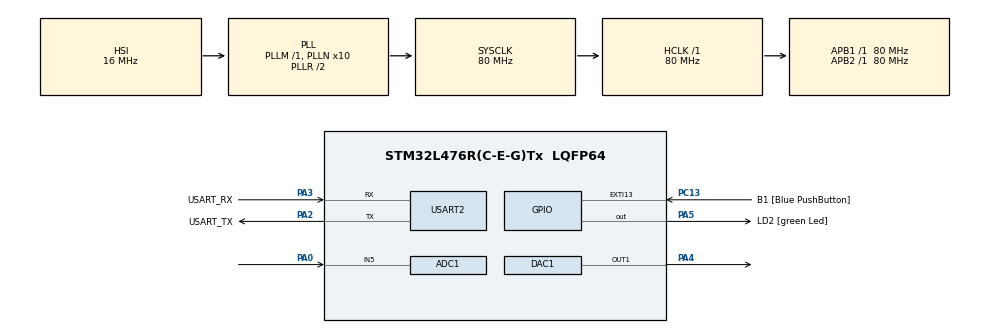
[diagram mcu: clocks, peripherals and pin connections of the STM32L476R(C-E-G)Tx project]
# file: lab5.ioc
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ADC1.Channel-0\#ChannelRegularConversion=ADC_CHANNEL_5
ADC1.ContinuousConvMode=DISABLE
ADC1.DMAContinuousRequests=ENABLE
ADC1.ExternalTrigConv=ADC_EXTERNALTRIG_T6_TRGO
ADC1.NbrOfConversionFlag=1
ADC1.OffsetNumber-0\#ChannelRegularConversion=ADC_OFFSET_NONE
ADC1.Rank-0\#ChannelRegularConversion=1
ADC1.SamplingTime-0\#ChannelRegularConversion=ADC_SAMPLETIME_2CYCLES_5
ADC1.master=1
DAC1.DAC_Trigger-DAC_OUT1=DAC_TRIGGER_T6_TRGO
Dma.ADC1.0.Direction=DMA_PERIPH_TO_MEMORY
Dma.ADC1.0.Instance=DMA1_Channel1
Dma.ADC1.0.MemDataAlignment=DMA_MDATAALIGN_WORD
Dma.ADC1.0.MemInc=DMA_MINC_ENABLE
Dma.ADC1.0.Mode=DMA_CIRCULAR
Dma.ADC1.0.PeriphDataAlignment=DMA_PDATAALIGN_HALFWORD
Dma.ADC1.0.PeriphInc=DMA_PINC_DISABLE
Dma.ADC1.0.Priority=DMA_PRIORITY_HIGH
Dma.DAC_CH1.1.Direction=DMA_MEMORY_TO_PERIPH
Dma.DAC_CH1.1.Instance=DMA1_Channel3
Dma.DAC_CH1.1.MemDataAlignment=DMA_MDATAALIGN_WORD
Dma.DAC_CH1.1.MemInc=DMA_MINC_ENABLE
Dma.DAC_CH1.1.Mode=DMA_CIRCULAR
Dma.DAC_CH1.1.PeriphDataAlignment=DMA_PDATAALIGN_HALFWORD
Dma.DAC_CH1.1.PeriphInc=DMA_PINC_DISABLE
Dma.DAC_CH1.1.Priority=DMA_PRIORITY_HIGH
Dma.Request0=ADC1
Dma.Request1=DAC_CH1
Mcu.Family=STM32L4
Mcu.Name=STM32L476R(C-E-G)Tx
Mcu.Package=LQFP64
NVIC.DMA1_Channel1_IRQn=true\:0\:0\:false\:false\:true\:false\:true\:true
NVIC.DMA1_Channel3_IRQn=true\:0\:0\:false\:false\:true\:false\:true\:true
NVIC.PriorityGroup=NVIC_PRIORITYGROUP_4
PA0.Signal=ADCx_IN5
PA13\ (JTMS-SWDIO).GPIO_Label=TMS
PA13\ (JTMS-SWDIO).Mode=Serial_Wire
PA13\ (JTMS-SWDIO).Signal=SYS_JTMS-SWDIO
PA14\ (JTCK-SWCLK).GPIO_Label=TCK
PA14\ (JTCK-SWCLK).Mode=Serial_Wire
PA14\ (JTCK-SWCLK).Signal=SYS_JTCK-SWCLK
PA2.GPIO_Label=USART_TX
PA2.GPIO_Mode=GPIO_MODE_AF_PP
PA2.GPIO_PuPd=GPIO_NOPULL
PA2.GPIO_Speed=GPIO_SPEED_FREQ_VERY_HIGH
PA2.Mode=Asynchronous
PA2.Signal=USART2_TX
PA3.GPIO_Label=USART_RX
PA3.GPIO_Mode=GPIO_MODE_AF_PP
PA3.GPIO_PuPd=GPIO_NOPULL
PA3.GPIO_Speed=GPIO_SPEED_FREQ_VERY_HIGH
PA3.Mode=Asynchronous
PA3.Signal=USART2_RX
PA4.Signal=COMP_DAC11_group
PA5.GPIO_Label=LD2 [green Led]
PA5.GPIO_ModeDefaultOutputPP=GPIO_MODE_OUTPUT_PP
PA5.GPIO_PuPd=GPIO_NOPULL
PA5.GPIO_Speed=GPIO_SPEED_FREQ_LOW
PA5.Signal=GPIO_Output
PB3\ (JTDO-TRACESWO).GPIO_Label=SWO
PB3\ (JTDO-TRACESWO).Signal=SYS_JTDO-SWO
PC13.GPIO_Label=B1 [Blue PushButton]
PC13.GPIO_ModeDefaultEXTI=GPIO_MODE_IT_FALLING
PC13.GPIO_PuPd=GPIO_NOPULL
PC13.Signal=GPXTI13
PC14-OSC32_IN\ (PC14).Mode=LSE-External-Oscillator
PC14-OSC32_IN\ (PC14).Signal=RCC_OSC32_IN
PC15-OSC32_OUT\ (PC15).Mode=LSE-External-Oscillator
PC15-OSC32_OUT\ (PC15).Signal=RCC_OSC32_OUT
PH0-OSC_IN\ (PH0).Signal=RCC_OSC_IN
PH1-OSC_OUT\ (PH1).Signal=RCC_OSC_OUT
ProjectManager.HeapSize=0x200
ProjectManager.StackSize=0x400
ProjectManager.TargetToolchain=STM32CubeIDE
RCC.ADCFreq_Value=64000000
RCC.AHBFreq_Value=80000000
RCC.APB1Freq_Value=80000000
RCC.APB1TimFreq_Value=80000000
RCC.APB2Freq_Value=80000000
RCC.APB2TimFreq_Value=80000000
RCC.CortexFreq_Value=80000000
RCC.HCLKFreq_Value=80000000
RCC.HSE_VALUE=8000000
RCC.HSI_VALUE=16000000
RCC.MSI_VALUE=4000000
RCC.PLLN=10
RCC.PLLSourceVirtual=RCC_PLLSOURCE_HSI
RCC.PREFETCH_ENABLE=1
RCC.SYSCLKFreq_VALUE=80000000
RCC.SYSCLKSource=RCC_SYSCLKSOURCE_PLLCLK
RCC.USBFreq_Value=64000000
RCC.VCOOutputFreq_Value=160000000
SH.ADCx_IN5.0=ADC1_IN5,IN5-Single-Ended
SH.COMP_DAC11_group.0=DAC1_OUT1,DAC_OUT1
TIM6.Period=4
TIM6.Prescaler=79
TIM6.TIM_MasterOutputTrigger=TIM_TRGO_UPDATE
USART2.VirtualMode-Asynchronous=VM_ASYNC
VP_TIM6_VS_ClockSourceINT.Mode=Enable_Timer
board=NUCLEO-L476RG

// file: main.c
/* USER CODE BEGIN Header */

/**

  ******************************************************************************

  * @file           : main.c

  * @brief          : Main program body

  ******************************************************************************

  * @attention

  *

  * Copyright (c) 2024 STMicroelectronics.

  * All rights reserved.

  *

  * This software is licensed under terms that can be found in the LICENSE file

  * in the root directory of this software component.

  * If no LICENSE file comes with this software, it is provided AS-IS.

  *

  ******************************************************************************

  */

/* USER CODE END Header */
#include "main.h"

/* USER CODE BEGIN PD */
#define BUFFER_HALFSIZE 500
#define BUFFER_SIZE 1000

/* USER CODE END PD */

ADC_HandleTypeDef hadc1;
DMA_HandleTypeDef hdma_adc1;

DAC_HandleTypeDef hdac1;
DMA_HandleTypeDef hdma_dac_ch1;

TIM_HandleTypeDef htim6;

UART_HandleTypeDef huart2;

/* USER CODE BEGIN PV */
uint32_t adc_buffer[BUFFER_SIZE];
uint32_t dac_buffer[BUFFER_SIZE];
 /*uint32_t val;
float real_val;
uint8_t count = 0;
float reading [40];
uint32_t timer_counter;
#define buffer_size 80
uint32_t adc_buffer[buffer_size];
*/

/* USER CODE END PV */

void SystemClock_Config(void);
static void MX_GPIO_Init(void);
static void MX_DMA_Init(void);
static void MX_USART2_UART_Init(void);
static void MX_ADC1_Init(void);
static void MX_TIM6_Init(void);
static void MX_DAC1_Init(void);

int main(void)
{

  /* MCU Configuration--------------------------------------------------------*/

  /* Reset of all peripherals, Initializes the Flash interface and the Systick. */
  HAL_Init();

  /* Configure the system clock */
  SystemClock_Config();

  /* Initialize all configured peripherals */
  MX_GPIO_Init();
  MX_DMA_Init();
  MX_USART2_UART_Init();
  MX_ADC1_Init();
  MX_TIM6_Init();
  MX_DAC1_Init();
  /* USER CODE BEGIN 2 */
  HAL_TIM_Base_Start(&htim6);
  HAL_ADC_Start_DMA(&hadc1, adc_buffer, BUFFER_SIZE);
  HAL_DAC_Start_DMA(&hdac1, DAC_CHANNEL_1, dac_buffer, BUFFER_SIZE, DAC_ALIGN_12B_R);

  /* USER CODE END 2 */

  /* Infinite loop */
  while (1)
  {

    /* USER CODE BEGIN 3 */
      //if (count < 40)  // Check if the buffer is not full
      //{
    	  //htim6.Instance->CNT=0;
          //HAL_ADC_Start(&hadc1);  // Start ADC conversion
          //HAL_ADC_PollForConversion(&hadc1, HAL_MAX_DELAY);  // Wait for ADC conversion
          //val = HAL_ADC_GetValue(&hadc1);  // Get the raw ADC value
          //timer_counter = __HAL_TIM_GET_COUNTER(&htim6);

          // Convert the raw ADC value to a real voltage (3V reference, 12-bit ADC)
          //real_val = (val / 4095.0) * 3.0;

          //reading[count] = real_val;  // Store the reading in the array
          //count++;  // Increment the counter

          //HAL_Delay(50);  // Delay between readings
      //}
      //else
      //{
          // Add a breakpoint here to inspect the adc_readings array
         // __BKPT(0);  // Breakpoint instruction (use your IDE's debug tool to pause here)
      //}
  }

  /* USER CODE END 3 */
}

void SystemClock_Config(void)
{
  RCC_OscInitTypeDef RCC_OscInitStruct = {0};
  RCC_ClkInitTypeDef RCC_ClkInitStruct = {0};

  /** Configure the main internal regulator output voltage
  */
  if (HAL_PWREx_ControlVoltageScaling(PWR_REGULATOR_VOLTAGE_SCALE1) != HAL_OK)
  {
    Error_Handler();
  }

  /** Initializes the RCC Oscillators according to the specified parameters
  * in the RCC_OscInitTypeDef structure.
  */
  RCC_OscInitStruct.OscillatorType = RCC_OSCILLATORTYPE_HSI;
  RCC_OscInitStruct.HSIState = RCC_HSI_ON;
  RCC_OscInitStruct.HSICalibrationValue = RCC_HSICALIBRATION_DEFAULT;
  RCC_OscInitStruct.PLL.PLLState = RCC_PLL_ON;
  RCC_OscInitStruct.PLL.PLLSource = RCC_PLLSOURCE_HSI;
  RCC_OscInitStruct.PLL.PLLM = 1;
  RCC_OscInitStruct.PLL.PLLN = 10;
  RCC_OscInitStruct.PLL.PLLP = RCC_PLLP_DIV7;
  RCC_OscInitStruct.PLL.PLLQ = RCC_PLLQ_DIV2;
  RCC_OscInitStruct.PLL.PLLR = RCC_PLLR_DIV2;
  if (HAL_RCC_OscConfig(&RCC_OscInitStruct) != HAL_OK)
  {
    Error_Handler();
  }

  /** Initializes the CPU, AHB and APB buses clocks
  */
  RCC_ClkInitStruct.ClockType = RCC_CLOCKTYPE_HCLK|RCC_CLOCKTYPE_SYSCLK
                              |RCC_CLOCKTYPE_PCLK1|RCC_CLOCKTYPE_PCLK2;
  RCC_ClkInitStruct.SYSCLKSource = RCC_SYSCLKSOURCE_PLLCLK;
  RCC_ClkInitStruct.AHBCLKDivider = RCC_SYSCLK_DIV1;
  RCC_ClkInitStruct.APB1CLKDivider = RCC_HCLK_DIV1;
  RCC_ClkInitStruct.APB2CLKDivider = RCC_HCLK_DIV1;

  if (HAL_RCC_ClockConfig(&RCC_ClkInitStruct, FLASH_LATENCY_4) != HAL_OK)
  {
    Error_Handler();
  }
}

static void MX_ADC1_Init(void)
{

  ADC_MultiModeTypeDef multimode = {0};
  ADC_ChannelConfTypeDef sConfig = {0};

  /** Common config
  */
  hadc1.Instance = ADC1;
  hadc1.Init.ClockPrescaler = ADC_CLOCK_ASYNC_DIV1;
  hadc1.Init.Resolution = ADC_RESOLUTION_12B;
  hadc1.Init.DataAlign = ADC_DATAALIGN_RIGHT;
  hadc1.Init.ScanConvMode = ADC_SCAN_DISABLE;
  hadc1.Init.EOCSelection = ADC_EOC_SINGLE_CONV;
  hadc1.Init.LowPowerAutoWait = DISABLE;
  hadc1.Init.ContinuousConvMode = DISABLE;
  hadc1.Init.NbrOfConversion = 1;
  hadc1.Init.DiscontinuousConvMode = DISABLE;
  hadc1.Init.ExternalTrigConv = ADC_EXTERNALTRIG_T6_TRGO;
  hadc1.Init.ExternalTrigConvEdge = ADC_EXTERNALTRIGCONVEDGE_RISING;
  hadc1.Init.DMAContinuousRequests = ENABLE;
  hadc1.Init.Overrun = ADC_OVR_DATA_PRESERVED;
  hadc1.Init.OversamplingMode = DISABLE;
  if (HAL_ADC_Init(&hadc1) != HAL_OK)
  {
    Error_Handler();
  }

  /** Configure the ADC multi-mode
  */
  multimode.Mode = ADC_MODE_INDEPENDENT;
  if (HAL_ADCEx_MultiModeConfigChannel(&hadc1, &multimode) != HAL_OK)
  {
    Error_Handler();
  }

  /** Configure Regular Channel
  */
  sConfig.Channel = ADC_CHANNEL_5;
  sConfig.Rank = ADC_REGULAR_RANK_1;
  sConfig.SamplingTime = ADC_SAMPLETIME_2CYCLES_5;
  sConfig.SingleDiff = ADC_SINGLE_ENDED;
  sConfig.OffsetNumber = ADC_OFFSET_NONE;
  sConfig.Offset = 0;
  if (HAL_ADC_ConfigChannel(&hadc1, &sConfig) != HAL_OK)
  {
    Error_Handler();
  }

}

static void MX_DAC1_Init(void)
{

  DAC_ChannelConfTypeDef sConfig = {0};

  /** DAC Initialization
  */
  hdac1.Instance = DAC1;
  if (HAL_DAC_Init(&hdac1) != HAL_OK)
  {
    Error_Handler();
  }

  /** DAC channel OUT1 config
  */
  sConfig.DAC_SampleAndHold = DAC_SAMPLEANDHOLD_DISABLE;
  sConfig.DAC_Trigger = DAC_TRIGGER_T6_TRGO;
  sConfig.DAC_OutputBuffer = DAC_OUTPUTBUFFER_ENABLE;
  sConfig.DAC_ConnectOnChipPeripheral = DAC_CHIPCONNECT_DISABLE;
  sConfig.DAC_UserTrimming = DAC_TRIMMING_FACTORY;
  if (HAL_DAC_ConfigChannel(&hdac1, &sConfig, DAC_CHANNEL_1) != HAL_OK)
  {
    Error_Handler();
  }

}

static void MX_TIM6_Init(void)
{

  TIM_MasterConfigTypeDef sMasterConfig = {0};

  htim6.Instance = TIM6;
  htim6.Init.Prescaler = 79;
  htim6.Init.CounterMode = TIM_COUNTERMODE_UP;
  htim6.Init.Period = 4;
  htim6.Init.AutoReloadPreload = TIM_AUTORELOAD_PRELOAD_DISABLE;
  if (HAL_TIM_Base_Init(&htim6) != HAL_OK)
  {
    Error_Handler();
  }
  sMasterConfig.MasterOutputTrigger = TIM_TRGO_UPDATE;
  sMasterConfig.MasterSlaveMode = TIM_MASTERSLAVEMODE_DISABLE;
  if (HAL_TIMEx_MasterConfigSynchronization(&htim6, &sMasterConfig) != HAL_OK)
  {
    Error_Handler();
  }

}

static void MX_USART2_UART_Init(void)
{

  huart2.Instance = USART2;
  huart2.Init.BaudRate = 115200;
  huart2.Init.WordLength = UART_WORDLENGTH_8B;
  huart2.Init.StopBits = UART_STOPBITS_1;
  huart2.Init.Parity = UART_PARITY_NONE;
  huart2.Init.Mode = UART_MODE_TX_RX;
  huart2.Init.HwFlowCtl = UART_HWCONTROL_NONE;
  huart2.Init.OverSampling = UART_OVERSAMPLING_16;
  huart2.Init.OneBitSampling = UART_ONE_BIT_SAMPLE_DISABLE;
  huart2.AdvancedInit.AdvFeatureInit = UART_ADVFEATURE_NO_INIT;
  if (HAL_UART_Init(&huart2) != HAL_OK)
  {
    Error_Handler();
  }

}

static void MX_DMA_Init(void)
{

  /* DMA controller clock enable */
  __HAL_RCC_DMA1_CLK_ENABLE();

  /* DMA interrupt init */
  /* DMA1_Channel1_IRQn interrupt configuration */
  HAL_NVIC_SetPriority(DMA1_Channel1_IRQn, 0, 0);
  HAL_NVIC_EnableIRQ(DMA1_Channel1_IRQn);
  /* DMA1_Channel3_IRQn interrupt configuration */
  HAL_NVIC_SetPriority(DMA1_Channel3_IRQn, 0, 0);
  HAL_NVIC_EnableIRQ(DMA1_Channel3_IRQn);

}

static void MX_GPIO_Init(void)
{
  GPIO_InitTypeDef GPIO_InitStruct = {0};

  /* GPIO Ports Clock Enable */
  __HAL_RCC_GPIOC_CLK_ENABLE();
  __HAL_RCC_GPIOH_CLK_ENABLE();
  __HAL_RCC_GPIOA_CLK_ENABLE();
  __HAL_RCC_GPIOB_CLK_ENABLE();

  /*Configure GPIO pin Output Level */
  HAL_GPIO_WritePin(LD2_GPIO_Port, LD2_Pin, GPIO_PIN_RESET);

  /*Configure GPIO pin : B1_Pin */
  GPIO_InitStruct.Pin = B1_Pin;
  GPIO_InitStruct.Mode = GPIO_MODE_IT_FALLING;
  GPIO_InitStruct.Pull = GPIO_NOPULL;
  HAL_GPIO_Init(B1_GPIO_Port, &GPIO_InitStruct);

  /*Configure GPIO pin : LD2_Pin */
  GPIO_InitStruct.Pin = LD2_Pin;
  GPIO_InitStruct.Mode = GPIO_MODE_OUTPUT_PP;
  GPIO_InitStruct.Pull = GPIO_NOPULL;
  GPIO_InitStruct.Speed = GPIO_SPEED_FREQ_LOW;
  HAL_GPIO_Init(LD2_GPIO_Port, &GPIO_InitStruct);

}

/* USER CODE BEGIN 4 */
void HAL_ADC_ConvHalfCpltCallback(ADC_HandleTypeDef *hadc)
{
for (int n=0; n<BUFFER_HALFSIZE; n++)
{
	if (adc_buffer[n] < 2048){
		dac_buffer[n]=4095-adc_buffer[n];
	}
	else{
	dac_buffer[n] = (adc_buffer[n]);
}
}
}
void HAL_ADC_ConvCpltCallback(ADC_HandleTypeDef *hadc)
{
for (int n=BUFFER_HALFSIZE; n<BUFFER_SIZE; n++)
{
	if (adc_buffer[n] < 2048){
		dac_buffer[n]=4095-adc_buffer[n];
		}
	else{
		dac_buffer[n] = (adc_buffer[n]);
}
}
}

/* USER CODE END 4 */

void Error_Handler(void)
{
  __disable_irq();
  while (1)
  {
  }
}
